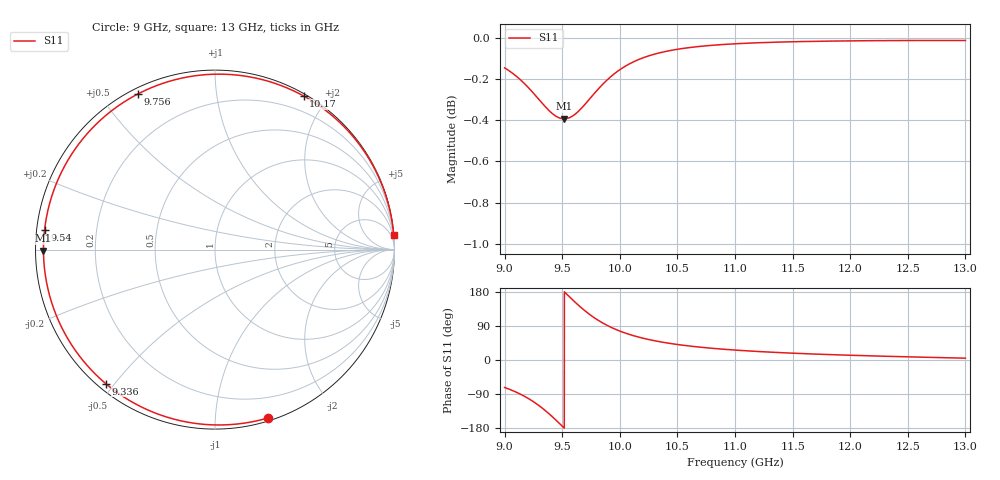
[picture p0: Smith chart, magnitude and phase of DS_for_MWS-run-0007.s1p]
! TOUCHSTONE file generated by CST DESIGN STUDIO
! Date and time: Tue Feb  4 13:23:58 2025
! Project name: C:\Work\MatlabApps\UnitCellOptimizationMatlab\CST\unitcell.cst
! Tree item: Tasks\Sweep1\SPara1\S-Parameters
! Header version: 2024
! Port assignment regex: !\s*Touchstone port\s*([0-9]+)\s*=\s*(CST MWS port|CST DES external port|CST DES block port)\s*(.+)\s* \(\"(.*)\"\)(\s*mode\s*([0-9]+))?.*
! Touchstone port assignment:
! Touchstone port 1 = CST DES external port 1 ("")
# GHz S MA R 50
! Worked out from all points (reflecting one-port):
!   4001 points, 9 GHz to 13 GHz, reference 50 ohm
!   lowest |S11| = -0.4 dB at 9.517 GHz (marker M1), VSWR 44.20, Z = 1.13 - j0.161 ohm
!   phase of S11 starts at -73 deg and turns -283 deg over the sweep
!   S11 on the Smith chart (normalised r, x): 9 GHz: 0.02, -1.36; 9.336 GHz: 0.02, -0.48; 9.54 GHz: 0.02, +0.06; 9.756 GHz: 0.02, +0.62; 10.17 GHz: 0.02, +1.73; 13 GHz: 0, +24
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9  0.9834 -72.6
9.092  0.9793 -83.7
9.196  0.9733 -99.8
9.269  0.9682 -113.9
9.336  0.9634 -129.2
9.381  0.9605 -140.6
9.427  0.9579 -153.2
9.5  0.9558 -174.6
9.517  0.9557 -179.6
9.54  0.9559 173.5
9.594  0.9574 157.6
9.654  0.9606 141.0
9.704  0.964 128.2
9.756  0.9678 116.2
9.807  0.9714 105.8
9.862  0.9751 95.9
9.931  0.9791 85.3
10  0.9824 76.4
10.081  0.9855 67.7
10.168  0.9881 60.1
10.319  0.9913 49.8
10.5  0.9937 40.9
10.722  0.9954 33.1
11  0.9967 26.2
11.5  0.9979 18.0
12  0.9984 12.5
12.5  0.9986 8.3
13  0.9986 4.8
